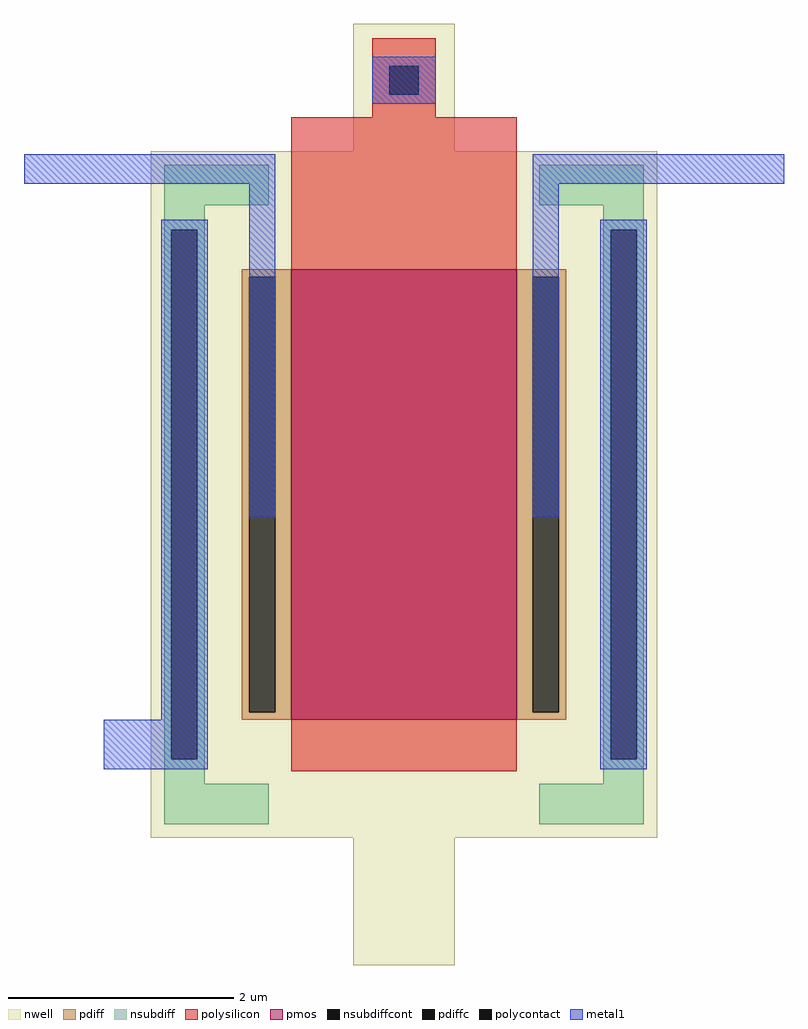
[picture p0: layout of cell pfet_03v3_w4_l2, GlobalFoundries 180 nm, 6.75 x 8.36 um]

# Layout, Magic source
magic
tech gf180mcuD
magscale 1 10
<< nwell >>
rect -450 -610 450 610
rect -90 400 90 836
rect -90 -836 90 -400
<< pmos >>
rect -200 -400 200 400
<< pdiff >>
rect -288 387 -200 400
rect -288 -387 -275 387
rect -229 -387 -200 387
rect -288 -400 -200 -387
rect 200 387 288 400
rect 200 -387 229 387
rect 275 -387 288 387
rect 200 -400 288 -387
<< pdiffc >>
rect -275 -387 -229 387
rect 229 -387 275 387
<< nsubdiff >>
rect -426 470 -354 514
rect -426 -470 -413 470
rect -367 -470 -354 470
rect 354 470 426 514
rect -426 -514 -354 -470
rect 354 -470 367 470
rect 413 -470 426 470
rect 354 -514 426 -470
rect -426 514 -240 586
rect 240 514 426 586
rect -426 -586 -240 -514
rect 240 -586 426 -514
<< nsubdiffcont >>
rect -413 -470 -367 470
rect 367 -470 413 470
<< polysilicon >>
rect -200 -492 200 670
rect -56 660 56 810
<< polycontact >>
rect -26 710 26 762
<< metal1 >>
rect -56 694 56 778
rect -275 -40 -229 552
rect -675 552 -229 604
rect 229 -40 275 552
rect 229 552 675 604
rect -431 -488 -349 488
rect 349 -488 431 488
rect -533 -488 -349 -400
<< properties >>
<< end >>
<< via1 >>
rect -26 710 26 762
<< metal2 >>
rect -52 700 52 784
<< properties >>
<< end >>
